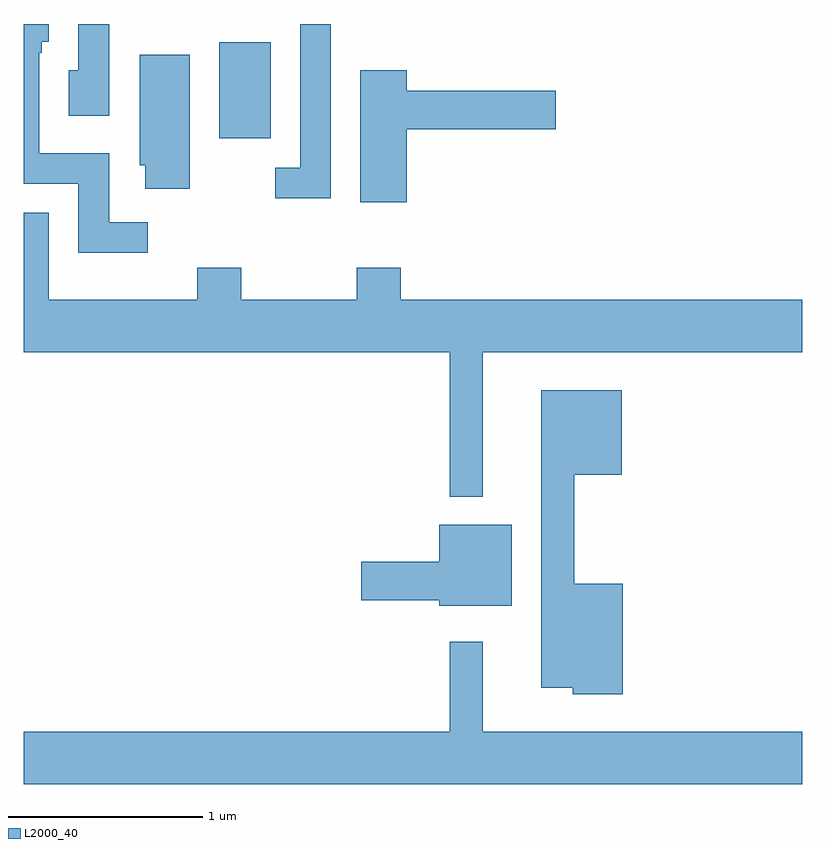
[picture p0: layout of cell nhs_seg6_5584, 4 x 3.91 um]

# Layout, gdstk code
import gdstk
lib = gdstk.Library(unit=1e-6, precision=1e-09)
def R(c, l, rs):  # rectangles x0, y0, x1, y1
    for r in rs: c.add(gdstk.rectangle(r[:2], r[2:], *l))
def P(c, l, *ps):  # polygons
    for p in ps: c.add(gdstk.Polygon(p, *l))
L2000_40 = (2000, 40)

nhs_seg6_5584 = lib.new_cell('nhs_seg6_5584')
R(nhs_seg6_5584, L2000_40, [(356.616,1555.576,356.879,1556.069)])
P(nhs_seg6_5584, L2000_40, [(356.248,1555.144),(356.049,1555.144),(356.049,1555.499),(355.689,1555.499),(355.689,1556.015),(355.704,1556.015),(355.704,1556.071),(355.739,1556.071),(355.739,1556.162),(355.611,1556.162),(355.611,1555.341),(355.891,1555.341),(355.891,1554.986),(356.248,1554.986)],
  [(356.049,1556.162),(355.891,1556.162),(355.891,1555.924),(355.841,1555.924),(355.841,1555.691),(356.049,1555.691)],
  [(357.189,1556.162),(357.031,1556.162),(357.031,1555.424),(356.903,1555.424),(356.903,1555.266),(357.189,1555.266)],
  [(356.464,1556.004),(356.206,1556.004),(356.206,1555.436),(356.236,1555.436),(356.236,1555.316),(356.464,1555.316)],
  [(357.579,1555.621),(358.344,1555.621),(358.344,1555.819),(357.579,1555.819),(357.579,1555.924),(357.341,1555.924),(357.341,1555.246),(357.579,1555.246)],
  [(357.969,1554.476),(359.611,1554.476),(359.611,1554.744),(357.549,1554.744),(357.549,1554.909),(357.321,1554.909),(357.321,1554.744),(356.729,1554.744),(356.729,1554.909),(356.501,1554.909),(356.501,1554.744),(355.739,1554.744),(355.739,1555.193),(355.611,1555.193),(355.611,1554.476),(357.801,1554.476),(357.801,1553.733),(357.969,1553.733)],
  [(358.689,1553.284),(358.439,1553.284),(358.439,1553.846),(358.684,1553.846),(358.684,1554.279),(358.271,1554.279),(358.271,1552.751),(358.431,1552.751),(358.431,1552.716),(358.689,1552.716)],
  [(358.119,1553.589),(357.746,1553.589),(357.746,1553.399),(357.346,1553.399),(357.346,1553.201),(357.746,1553.201),(357.746,1553.171),(358.119,1553.171)],
  [(359.611,1552.524),(357.969,1552.524),(357.969,1552.988),(357.801,1552.988),(357.801,1552.524),(355.611,1552.524),(355.611,1552.256),(359.611,1552.256)])

lib.write_gds('nhs_seg6_5584.gds')
